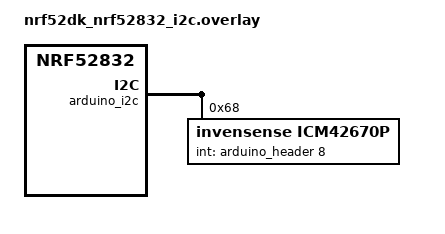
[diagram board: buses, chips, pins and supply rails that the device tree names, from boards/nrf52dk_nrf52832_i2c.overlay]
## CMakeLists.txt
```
#
# Copyright (c) 2024 TDK Invensense
#
# SPDX-License-Identifier: Apache-2.0
#

cmake_minimum_required(VERSION 3.28.0)
find_package(Zephyr REQUIRED HINTS $ENV{ZEPHYR_BASE})
project(tdk_apex)

FILE(GLOB app_sources src/*.c)
target_sources(app PRIVATE ${app_sources})
```

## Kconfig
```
# Copyright (c) 2024, TDK Invensense
# SPDX-License-Identifier: Apache-2.0

# Enable trigger to get APEX sensor data
choice ICM42670_TRIGGER_MODE
	default ICM42670_TRIGGER_OWN_THREAD
endchoice

source "Kconfig.zephyr"
```

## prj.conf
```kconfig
#
# Copyright (c) 2024 TDK Invensense
#
# SPDX-License-Identifier: Apache-2.0
#

CONFIG_SENSOR=y
CONFIG_LOG=y
CONFIG_SENSOR_LOG_LEVEL_DBG=n

# Floating point format support
# Selecting this increases stack size requirements slightly, but increases code size significantly.
CONFIG_CBPRINTF_FP_SUPPORT=y

# nrf52dk/nrf52832 specific
CONFIG_USE_SEGGER_RTT=n

# Trigger mode: sample is using interrupt triggering
CONFIG_ICM42X70_TRIGGER_OWN_THREAD=y
```

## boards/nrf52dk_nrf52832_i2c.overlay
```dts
/*
 * Copyright (c) 2024, TDK Invensense
 *
 * SPDX-License-Identifier: Apache-2.0
 */

/*
 * Get a node identifier for TDK IMU sensor supporting APEX feature.
 */
/ {
	aliases {
		tdk-apex-sensor0 = &icm42670p;
	};
};

/*
 * Example configuration of a ICM42670-P device on i2c0 compatible with an Arduino I2C bus.
 *
 * Device address 0x68 is assumed. Your device may have a different
 * address; check your device documentation if unsure.
 */
&arduino_i2c {
	status = "okay";

	icm42670p: icm42670p@68 {
		compatible = "invensense,icm42670p";
		reg = <0x68>;
		int-gpios = <&arduino_header 8 GPIO_ACTIVE_HIGH>; /* D2 */
		accel-hz = <50>;
		gyro-hz = <50>;
		accel-fs = <16>;
		gyro-fs = <2000>;
		apex = "pedometer";
	};
};
```

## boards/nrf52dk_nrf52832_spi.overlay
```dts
/*
 * Copyright (c) 2024, TDK Invensense
 *
 * SPDX-License-Identifier: Apache-2.0
 */

/*
 * Get a node identifier for TDK IMU sensor supporting APEX feature.
 */
/ {
	aliases {
		tdk-apex-sensor0 = &icm42670p;
	};
};

/*
 * Example configuration of a ICM42670-P device on spi2 compatible with an Arduino SPI bus.
 */
&arduino_spi {
	cs-gpios = <&arduino_header 14 GPIO_ACTIVE_LOW>; /* D8 */
	status = "okay";

	icm42670p: icm42670p@0 {
		compatible = "invensense,icm42670p";
		reg = <0>;
		spi-max-frequency = <1000000>; /* conservatively set to 1MHz */
		int-gpios = <&arduino_header 8 GPIO_ACTIVE_HIGH>; /* D2 */
		accel-hz = <50>;
		gyro-hz = <50>;
		accel-fs = <16>;
		gyro-fs = <2000>;
		apex = "pedometer";
	};
};
```

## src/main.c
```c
/*
 * Copyright (c) 2024 TDK Invensense
 *
 * SPDX-License-Identifier: Apache-2.0
 */

#include <zephyr/kernel.h>
#include <zephyr/device.h>
#include <zephyr/devicetree.h>
#include <zephyr/drivers/sensor.h>
#include <zephyr/drivers/sensor/tdk_apex.h>
#include <stdio.h>

/** @brief Tap number definition */
typedef enum {
	TAP_TRIPLE = 0x03,
	TAP_DOUBLE = 0x02,
	TAP_SINGLE = 0x01,
} tap_num_t;

static struct sensor_trigger data_trigger;

/* Flag set from IMU device irq handler */
static volatile int irq_from_device;

/*
 * Get a device structure from a devicetree node from alias
 * "tdk_apex_sensor0".
 */
static const struct device *get_tdk_apex_device(void)
{
	const struct device *const dev = DEVICE_DT_GET(DT_ALIAS(tdk_apex_sensor0));

	if (!device_is_ready(dev)) {
		printk("\nError: Device \"%s\" is not ready; "
		       "check the driver initialization logs for errors.\n",
		       dev->name);
		return NULL;
	}

	printk("Found device \"%s\", getting sensor data\n", dev->name);
	return dev;
}

static const char *now_str(void)
{
	static char buf[16]; /* ...HH:MM:SS.MMM */
	uint32_t now = k_uptime_get_32();
	unsigned int ms = now % MSEC_PER_SEC;
	unsigned int s;
	unsigned int min;
	unsigned int h;

	now /= MSEC_PER_SEC;
	s = now % 60U;
	now /= 60U;
	min = now % 60U;
	now /= 60U;
	h = now;

	snprintf(buf, sizeof(buf), "%u:%02u:%02u.%03u", h, min, s, ms);
	return buf;
}

static void handle_tdk_apex_drdy(const struct device *dev, const struct sensor_trigger *trig)
{
	if (trig->type == SENSOR_TRIG_MOTION) {
		int rc = sensor_sample_fetch_chan(dev, trig->chan);

		if (rc < 0) {
			printf("sample fetch failed: %d\n", rc);
			printf("cancelling trigger due to failure: %d\n", rc);
			(void)sensor_trigger_set(dev, trig, NULL);
			return;
		} else if (rc == 0) {
			irq_from_device = 1;
		}
	}
}

int main(void)
{
	const struct device *dev = get_tdk_apex_device();
	struct sensor_value apex_mode;

	if (dev == NULL) {
		return 0;
	}

	sensor_attr_get(dev, SENSOR_CHAN_APEX_MOTION, SENSOR_ATTR_CONFIGURATION, &apex_mode);
	if (apex_mode.val1 == TDK_APEX_PEDOMETER) {
		printf("Pedometer data sample.\n");
	} else if (apex_mode.val1 == TDK_APEX_TILT) {
		printf("Tilt data sample.\n");
	} else if (apex_mode.val1 == TDK_APEX_WOM) {
		printf("WOM data sample.\n");
	} else if (apex_mode.val1 == TDK_APEX_SMD) {
		printf("SMD data sample.\n");
	} else if (apex_mode.val1 == TDK_APEX_TAP) {
		printf("TAP data sample.\n");
	}
	apex_mode.val2 = 0;
	sensor_attr_set(dev, SENSOR_CHAN_APEX_MOTION, SENSOR_ATTR_CONFIGURATION, &apex_mode);

	data_trigger = (struct sensor_trigger){
		.type = SENSOR_TRIG_MOTION,
		.chan = SENSOR_CHAN_APEX_MOTION,
	};
	if (sensor_trigger_set(dev, &data_trigger, handle_tdk_apex_drdy) < 0) {
		printf("Cannot configure data trigger!!!\n");
		return 0;
	}

	printf("Configured for APEX data collecting.\n");

	k_sleep(K_MSEC(1000));

	while (1) {

		if (irq_from_device) {
			if (apex_mode.val1 == TDK_APEX_PEDOMETER) {
				struct sensor_value apex_pedometer[3];

				sensor_channel_get(dev, SENSOR_CHAN_APEX_MOTION, apex_pedometer);

				printf("[%s]: STEP_DET     count: %d steps  cadence: %.1f steps/s  "
				       "activity: %s\n",
				       now_str(), apex_pedometer[0].val1,
				       sensor_value_to_double(&apex_pedometer[2]),
				       apex_pedometer[1].val1 == 1   ? "Walk"
				       : apex_pedometer[1].val1 == 2 ? "Run"
								     : "Unknown");
			} else if (apex_mode.val1 == TDK_APEX_TILT) {
				struct sensor_value apex_tilt;

				sensor_channel_get(dev, SENSOR_CHAN_APEX_MOTION, &apex_tilt);

				printf("[%s]: %s\n", now_str(),
				       apex_tilt.val1 ? "TILT" : "Unknown trig");
			} else if (apex_mode.val1 == TDK_APEX_WOM) {
				struct sensor_value apex_wom[3];

				sensor_channel_get(dev, SENSOR_CHAN_APEX_MOTION, apex_wom);

				printf("[%s]: WOM x=%d y=%d z=%d\n", now_str(), apex_wom[0].val1,
				       apex_wom[1].val1, apex_wom[2].val1);
			} else if (apex_mode.val1 == TDK_APEX_SMD) {
				struct sensor_value apex_smd;

				sensor_channel_get(dev, SENSOR_CHAN_APEX_MOTION, &apex_smd);

				printf("[%s]: %s\n", now_str(),
				       apex_smd.val1 ? "SMD" : "Unknown trig");
			} else if (apex_mode.val1 == TDK_APEX_TAP) {
				struct sensor_value apex_tap;

				sensor_channel_get(dev, SENSOR_CHAN_APEX_MOTION, &apex_tap);

				if (apex_tap.val1 == TAP_SINGLE) {
					printf("[%s]: Single TAP\n", now_str());
				} else if (apex_tap.val1 == TAP_DOUBLE) {
					printf("[%s]: Double TAP\n", now_str());
				} else if (apex_tap.val1 == TAP_TRIPLE) {
					printf("[%s]: Triple TAP\n", now_str());
				} else {
					printf("[%s]: Unknown trig\n", now_str());
				}
			}
			irq_from_device = 0;
		}
	}
	return 0;
}
```
